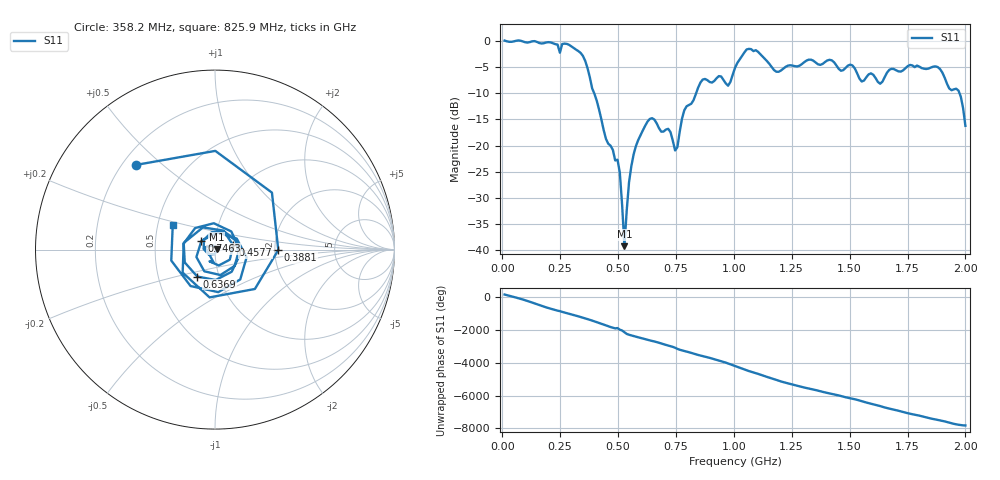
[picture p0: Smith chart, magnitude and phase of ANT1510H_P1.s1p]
!Created with skrf (http://scikit-rf.org).
# Hz S RI R 50.0
!freq ReS11 ImS11
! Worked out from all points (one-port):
!   201 points, 10 MHz to 2 GHz, reference 50 ohm
!   lowest |S11| = -39.2 dB at 527.4 MHz (marker M1), VSWR 1.02, Z = 51.1 + j0.294 ohm
!   |S11| at or under -10 dB: 397 MHz to 837 MHz (440 MHz wide, 71.3 % of centre); 1.975 GHz to end of sweep
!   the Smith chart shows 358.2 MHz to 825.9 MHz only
!   S11 on the Smith chart (normalised r, x): 358.2 MHz: 0.25, +0.41; 388.1 MHz: 2.09, -0.01; 457.8 MHz: 1.22, +0.06; 636.9 MHz: 0.79, -0.24; 746.3 MHz: 0.86, +0.09; 825.9 MHz: 0.60, +0.18
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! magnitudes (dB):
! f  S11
! 10 MHz  0.1
! 258.8 MHz  -0.6
! 358.2 MHz  -3.8
! 388.1 MHz  -9.1
! 457.8 MHz  -19.6
! 507.5 MHz  -25.1
! 527.4 MHz  -39.2
! 547.3 MHz  -27.0
! 567.2 MHz  -21.7
! 636.9 MHz  -14.9
! 716.5 MHz  -16.8
! 746.3 MHz  -20.9
! 756.2 MHz  -20.3
! 786.1 MHz  -13.2
! 825.9 MHz  -11.3
! 865.7 MHz  -7.4
! 975.1 MHz  -8.5
! 1.005 GHz  -5.1
! 1.065 GHz  -1.5
! 1.184 GHz  -5.9
! 1.254 GHz  -4.7
! 1.502 GHz  -4.5
! 1.552 GHz  -7.7
! 1.632 GHz  -8.2
! 1.751 GHz  -4.8
! 1.891 GHz  -5.4
! 1.97 GHz  -9.5
! 2 GHz  -16.2
